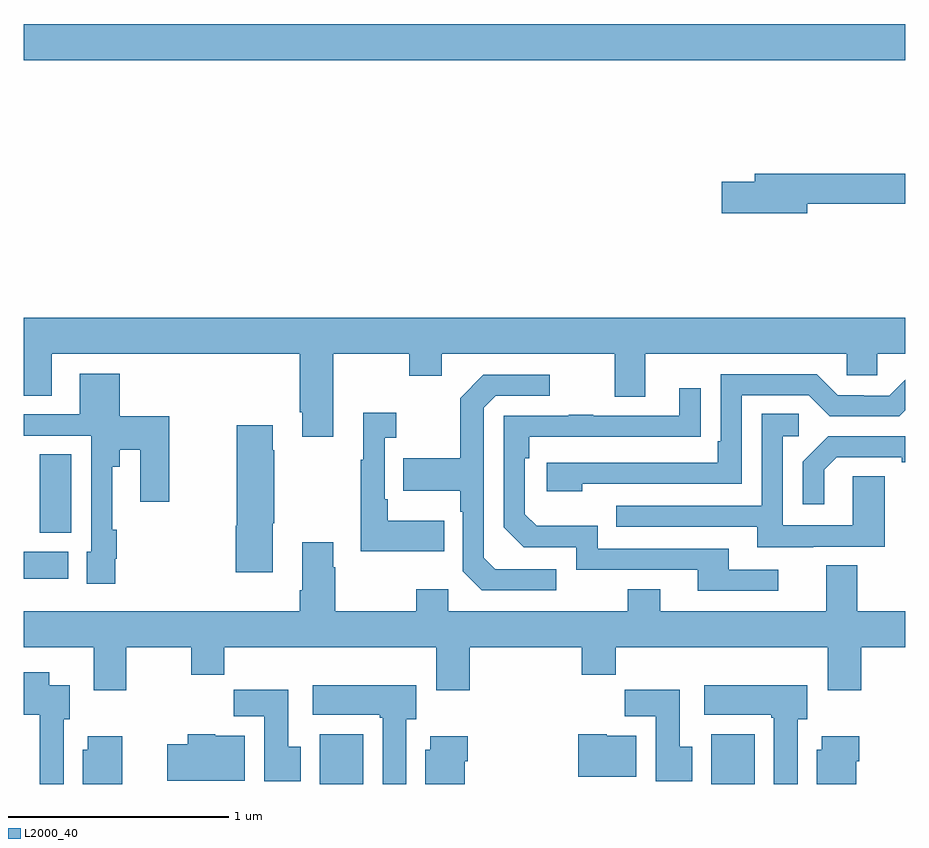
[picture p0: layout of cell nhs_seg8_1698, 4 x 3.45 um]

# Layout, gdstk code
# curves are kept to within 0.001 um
import gdstk
lib = gdstk.Library(unit=1e-6, precision=1e-09)
def R(c, l, rs):  # rectangles x0, y0, x1, y1
    for r in rs: c.add(gdstk.rectangle(r[:2], r[2:], *l))
def P(c, l, *ps):  # polygons
    for p in ps: c.add(gdstk.Polygon(p, *l))
L2000_40 = (2000, 40)

nhs_seg8_1698 = lib.new_cell('nhs_seg8_1698')
R(nhs_seg8_1698, L2000_40, [(220.343,1095.9,220.54,1096.126), (222.119,1095.9,222.316,1096.126), (219,1096.832,219.202,1096.954), (219.074,1097.039,219.217,1097.396), (219,1099.184,223,1099.348)])
P(nhs_seg8_1698, L2000_40, [(222.556,1098.532),(223,1098.532),(223,1098.668),(222.317,1098.668),(222.317,1098.632),(222.168,1098.632),(222.168,1098.49),(222.556,1098.49)],
  [(220.405,1097.852),(220.75,1097.852),(220.75,1097.753),(220.897,1097.753),(220.897,1097.852),(221.681,1097.852),(221.681,1097.658),(221.821,1097.658),(221.821,1097.852),(222.735,1097.852),(222.735,1097.754),(222.873,1097.754),(222.873,1097.852),(223,1097.852),(223,1098.016),(219,1098.016),(219,1097.662),(219.127,1097.662),(219.127,1097.852),(220.253,1097.852),(220.253,1097.587),(220.265,1097.587),(220.265,1097.475),(220.405,1097.475)],
  [(219.415,1096.921),(219.422,1096.921),(219.422,1097.053),(219.402,1097.053),(219.402,1097.339),(219.436,1097.339),(219.436,1097.417),(219.53,1097.417),(219.53,1097.181),(219.66,1097.181),(219.66,1097.569),(219.436,1097.569),(219.436,1097.761),(219.254,1097.761),(219.254,1097.577),(219,1097.577),(219,1097.481),(219.306,1097.481),(219.306,1096.953),(219.287,1096.953),(219.287,1096.809),(219.415,1096.809)],
  [(221.534,1097.262),(222.258,1097.262),(222.258,1097.664),(222.561,1097.664),(222.657,1097.568),(222.972,1097.568),(223,1097.596),(223,1097.734),(222.927,1097.661),(222.812,1097.661),(222.812,1097.664),(222.693,1097.664),(222.597,1097.76),(222.162,1097.76),(222.162,1097.455),(222.149,1097.455),(222.149,1097.358),(221.373,1097.358),(221.373,1097.228),(221.534,1097.228)],
  [(221.416,1096.875),(221.139,1096.875),(221.088,1096.926),(221.088,1097.607),(221.142,1097.661),(221.386,1097.661),(221.386,1097.757),(221.085,1097.757),(220.98,1097.651),(220.98,1097.379),(220.723,1097.379),(220.723,1097.231),(220.98,1097.231),(220.98,1097.135),(220.992,1097.135),(220.992,1096.866),(221.079,1096.779),(221.416,1096.779)],
  [(222.424,1096.872),(222.199,1096.872),(222.199,1096.968),(221.604,1096.968),(221.604,1097.071),(221.327,1097.071),(221.274,1097.124),(221.274,1097.378),(221.294,1097.378),(221.294,1097.475),(222.071,1097.476),(222.071,1097.695),(221.975,1097.695),(221.975,1097.571),(221.585,1097.571),(221.585,1097.576),(221.473,1097.576),(221.473,1097.571),(221.178,1097.571),(221.178,1097.064),(221.268,1096.974),(221.508,1096.974),(221.508,1096.872),(222.059,1096.872),(222.059,1096.776),(222.424,1096.776)],
  [(220.907,1097.095),(220.651,1097.095),(220.651,1097.191),(220.638,1097.191),(220.638,1097.471),(220.69,1097.471),(220.69,1097.584),(220.541,1097.584),(220.541,1097.371),(220.53,1097.371),(220.53,1096.955),(220.907,1096.955)],
  [(222.583,1096.977),(222.907,1096.977),(222.907,1097.297),(222.762,1097.297),(222.762,1097.073),(222.444,1097.073),(222.444,1097.478),(222.517,1097.478),(222.517,1097.579),(222.348,1097.579),(222.348,1097.163),(221.689,1097.163),(221.689,1097.067),(222.329,1097.067),(222.329,1096.973),(222.583,1096.973)],
  [(220.129,1097.083),(220.137,1097.083),(220.137,1097.414),(220.129,1097.414),(220.129,1097.527),(219.967,1097.527),(219.967,1097.072),(219.962,1097.072),(219.962,1096.86),(220.129,1096.86)],
  [(222.631,1097.325),(222.688,1097.382),(222.983,1097.382),(222.983,1097.36),(223,1097.36),(223,1097.478),(222.65,1097.478),(222.534,1097.362),(222.534,1097.169),(222.631,1097.169)],
  [(219.465,1096.52),(219.76,1096.52),(219.76,1096.396),(219.911,1096.396),(219.911,1096.52),(220.871,1096.52),(220.871,1096.326),(221.024,1096.326),(221.024,1096.52),(221.531,1096.52),(221.531,1096.396),(221.687,1096.396),(221.687,1096.52),(222.647,1096.52),(222.647,1096.326),(222.8,1096.326),(222.8,1096.52),(223,1096.52),(223,1096.684),(222.781,1096.684),(222.781,1096.892),(222.641,1096.892),(222.641,1096.684),(221.887,1096.684),(221.887,1096.783),(221.74,1096.783),(221.74,1096.684),(220.926,1096.684),(220.926,1096.783),(220.78,1096.783),(220.78,1096.684),(220.413,1096.684),(220.413,1096.883),(220.405,1096.883),(220.405,1096.996),(220.265,1096.996),(220.265,1096.78),(220.253,1096.78),(220.253,1096.684),(219,1096.684),(219,1096.52),(219.317,1096.52),(219.317,1096.326),(219.465,1096.326)],
  [(219.181,1096.194),(219.208,1096.194),(219.208,1096.348),(219.115,1096.348),(219.115,1096.408),(219,1096.408),(219,1096.214),(219.074,1096.214),(219.074,1095.9),(219.181,1095.9)],
  [(220.735,1096.194),(220.78,1096.194),(220.78,1096.348),(220.311,1096.348),(220.311,1096.214),(220.615,1096.214),(220.615,1096.201),(220.628,1096.201),(220.628,1095.9),(220.735,1095.9)],
  [(222.511,1096.194),(222.556,1096.194),(222.556,1096.348),(222.087,1096.348),(222.087,1096.214),(222.391,1096.214),(222.391,1096.201),(222.404,1096.201),(222.404,1095.9),(222.511,1095.9)],
  [(220.258,1096.068),(220.201,1096.068),(220.201,1096.327),(219.952,1096.327),(219.952,1096.208),(220.091,1096.208),(220.091,1095.912),(220.258,1095.912)],
  [(222.034,1096.068),(221.977,1096.068),(221.977,1096.327),(221.728,1096.327),(221.728,1096.208),(221.867,1096.208),(221.867,1095.912),(222.034,1095.912)],
  [(221.779,1096.12),(221.646,1096.12),(221.646,1096.126),(221.516,1096.126),(221.516,1095.932),(221.779,1095.932)],
  [(220.003,1096.12),(219.87,1096.12),(219.87,1096.126),(219.745,1096.126),(219.745,1096.08),(219.651,1096.08),(219.651,1095.914),(220.003,1095.914)],
  [(221.002,1096.004),(221.015,1096.004),(221.015,1096.117),(220.844,1096.117),(220.844,1096.056),(220.823,1096.056),(220.823,1095.9),(221.002,1095.9)],
  [(219.448,1096.117),(219.29,1096.117),(219.29,1096.056),(219.269,1096.056),(219.269,1095.9),(219.448,1095.9)],
  [(222.778,1096.004),(222.791,1096.004),(222.791,1096.117),(222.62,1096.117),(222.62,1096.056),(222.599,1096.056),(222.599,1095.9),(222.778,1095.9)])

lib.write_gds('nhs_seg8_1698.gds')
